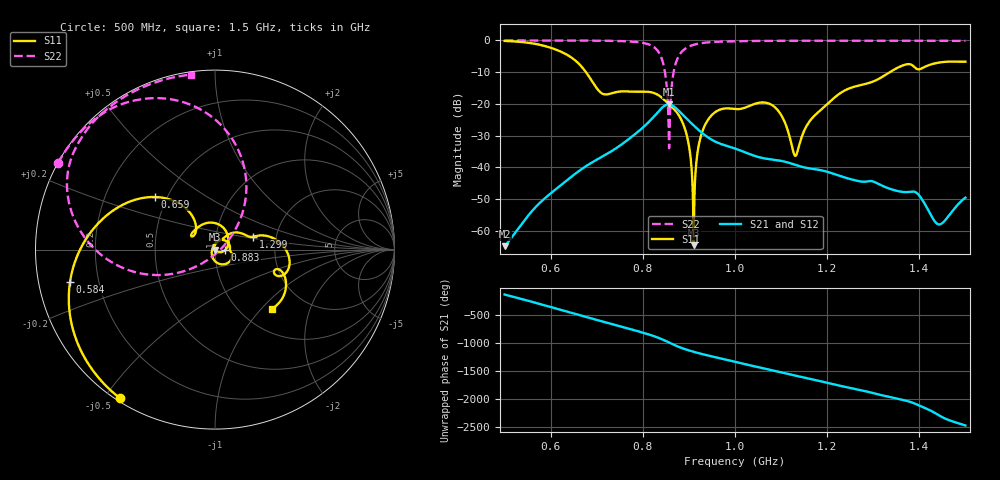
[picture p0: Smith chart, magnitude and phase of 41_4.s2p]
! TOUCHSTONE file generated by CST MICROWAVE STUDIO
! Date and time: Fri Oct  2 17:01:27 2020
! Project name: Scenario_1_Free_Space_out_of_line.cst
! Parameters = {Lambda=346.42; Step_1=17.321; dy1=-346; dx1=693; L_HA=400; MT=2.54; Rad_Dielectric=30; Rad_Lower=7.3; Rad_Upper=30; a_HA=580; a_WG=246; b_HA=500; b_WG=121; c_HA=0; c_WG=187; d_feed=85; h_feed=15; h_lower=18; h_upper=40}
! Header version: 2018
! Port assignment regex: !\s*Touchstone port\s*([0-9]+)\s*=\s*(CST MWS port|CST DS port)\s*([0-9]+|Zmin|Zmax)\s*\(\"(.*)\"\)(\s*mode\s*([0-9]+))?.*
! Touchstone port assignment:
! Touchstone port 1 = CST MWS port 1 ("")
! Touchstone port 2 = CST MWS port 2 ("")
# GHz S DB R 50
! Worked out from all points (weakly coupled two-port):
!   1003 points, 500 MHz to 1.5 GHz, reference 50 ohm
!   highest |S21| = -20.15 dB at 856 MHz (marker M1); lowest = -64.8 dB at 500 MHz (marker M2)
!   lowest |S11| = -64.6 dB at 910 MHz (marker M3), VSWR 1.00, Z = 50 - j0.0524 ohm
!   |S11| at or under -10 dB: 676.6 MHz to 1.336 GHz (659.4 MHz wide, 65.5 % of centre)
!   |S22| runs from -34.0 to 0.0 dB; largest |S21 - S12| = 5.6e-05
!   S11 on the Smith chart (normalised r, x): 500 MHz: 0.01, -0.55; 584 MHz: 0.10, -0.11; 659 MHz: 0.43, +0.31; 883 MHz: 1.12, -0.01; 1.299 GHz: 1.52, +0.23; 1.5 GHz: 1.37, -1.16
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0.5  -0.15 -122.5  -64.82 -142.6  -64.82 -142.6  -0.01 151.2
0.584  -1.64 -167.4  -50.17 31.0  -50.17 31.0  -0.02 145.3
0.659  -7.04 138.8  -41.39 -140.0  -41.39 -140.0  -0.04 139.1
0.667  -8.26 132.9  -40.55 -158.8  -40.55 -158.8  -0.04 138.3
0.714  -16.89 139.8  -36.44 93.0  -36.44 93.0  -0.09 133.0
0.834  -17.26 76.0  -22.36 165.6  -22.36 165.6  -3.62 84.1
0.846  -18.63 57.5  -20.68 123.4  -20.68 123.4  -8.44 62.5
0.856  -20.01 43.1  -20.15 84.1  -20.15 84.1  -27.33 16.9
0.883  -24.85 -2.8  -22.89 -11.4  -22.89 -11.4  -3.82 -178.1
0.899  -32.32 -34.9  -25.21 -55.6  -25.21 -55.6  -1.99 168.5
0.91  -64.57 -62.4  -26.75 -82.7  -26.75 -82.7  -1.38 162.4
0.922  -32.50 101.1  -28.34 -109.8  -28.34 -109.8  -0.97 157.2
0.936  -26.34 76.7  -29.99 -138.8  -29.99 -138.8  -0.68 152.6
1  -21.62 1.1  -34.05 98.9  -34.05 98.9  -0.26 140.1
1.083  -20.63 -62.4  -37.58 -55.2  -37.58 -55.2  -0.13 131.2
1.131  -36.38 159.2  -39.19 -147.8  -39.19 -147.8  -0.11 127.0
1.167  -24.56 60.9  -40.45 147.6  -40.45 147.6  -0.09 124.1
1.299  -12.98 18.9  -44.41 -98.3  -44.41 -98.5  -0.09 114.1
1.334  -10.17 13.6  -46.64 -165.4  -46.63 -165.4  -0.09 111.4
1.394  -8.94 -22.1  -48.00 60.3  -48.00 60.3  -0.10 106.8
1.442  -6.99 -27.9  -57.96 -132.6  -57.95 -132.6  -0.11 102.9
1.5  -6.72 -46.2  -49.54 43.9  -49.50 43.8  -0.14 97.8
